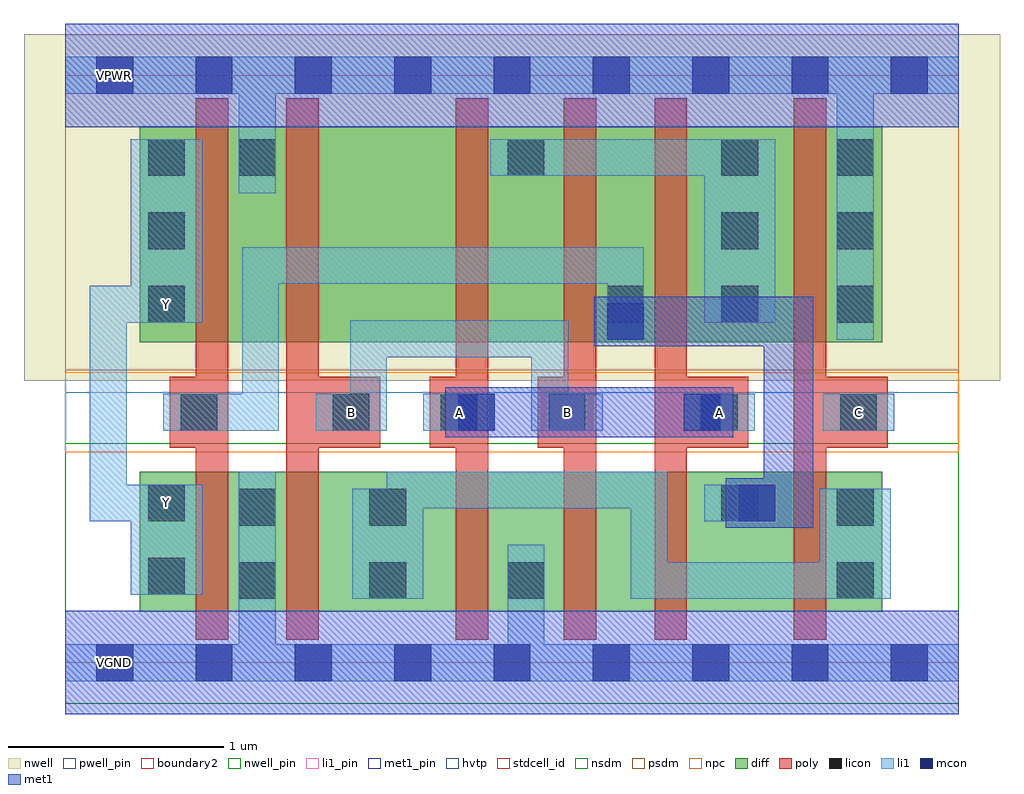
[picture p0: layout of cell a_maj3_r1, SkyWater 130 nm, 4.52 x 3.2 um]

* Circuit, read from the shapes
.subckt a_maj3_r1 A B C VGND VNB VPB VPWR Y
XM1 VGND n1 Y VNB sky130_fd_pr__nfet_01v8 w=0.65 l=0.15
XM2 n2 B VGND VNB sky130_fd_pr__nfet_01v8 w=0.65 l=0.15
XM3 VGND A n2 VNB sky130_fd_pr__nfet_01v8 w=0.65 l=0.15
XM4 n3 B VGND VNB sky130_fd_pr__nfet_01v8 w=0.65 l=0.15
XM5 n1 A n3 VNB sky130_fd_pr__nfet_01v8 w=0.65 l=0.15
XM6 n2 C n1 VNB sky130_fd_pr__nfet_01v8 w=0.65 l=0.15
XM7 VPWR n1 Y VPB sky130_fd_pr__pfet_01v8_hvt w=1 l=0.15
XM8 n4 B VPWR VPB sky130_fd_pr__pfet_01v8_hvt w=1 l=0.15
XM9 n5 A n4 VPB sky130_fd_pr__pfet_01v8_hvt w=1 l=0.15
XM10 n1 B n5 VPB sky130_fd_pr__pfet_01v8_hvt w=1 l=0.15
XM11 n5 A n1 VPB sky130_fd_pr__pfet_01v8_hvt w=1 l=0.15
XM12 VPWR C n5 VPB sky130_fd_pr__pfet_01v8_hvt w=1 l=0.15
.ends

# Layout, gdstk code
import gdstk
lib = gdstk.Library(unit=1e-6, precision=1e-09)
def R(c, l, rs):  # rectangles x0, y0, x1, y1
    for r in rs: c.add(gdstk.rectangle(r[:2], r[2:], *l))
def A(c, l, x, y, w, h, nx, ny, dx, dy):  # array of equal rectangles
    R(c, l, [(x+i*dx, y+j*dy, x+i*dx+w, y+j*dy+h) for i in range(nx) for j in range(ny)])
nwell_pin = (64, 16)
nwell = (64, 20)
diff = (65, 20)
poly = (66, 20)
licon = (66, 44)
li1_pin = (67, 16)
li1 = (67, 20)
mcon = (67, 44)
met1_pin = (68, 16)
met1 = (68, 20)
hvtp = (78, 44)
stdcell_id = (81, 4)
nsdm = (93, 44)
psdm = (94, 20)
npc = (95, 20)
pwell_pin = (122, 16)
boundary2 = (236, 0)

a_maj3_r1 = lib.new_cell('a_maj3_r1')
R(a_maj3_r1, nwell_pin, [(0.145,2.635,0.315,2.805)])
R(a_maj3_r1, nwell, [(-0.19,1.305,4.33,2.91)])
R(a_maj3_r1, diff, [(0.345,0.235,0.89,0.885), (0.89,0.235,1.49,0.885), (1.49,0.235,2.135,0.885), (2.135,0.235,2.595,0.885), (2.595,0.235,3.13,0.885), (3.13,0.235,3.785,0.885), (0.345,1.485,0.89,2.485), (0.89,1.485,1.49,2.485), (1.49,1.485,2.135,2.485), (2.135,1.485,2.595,2.485), (2.595,1.485,3.13,2.485), (3.13,1.485,3.785,2.485)])
R(a_maj3_r1, poly, [(0.605,0.105,0.755,2.615), (1.025,0.105,1.175,2.615), (1.81,0.105,1.96,2.615), (2.31,0.105,2.46,2.615), (2.73,0.105,2.88,2.615), (3.375,0.105,3.525,2.615), (0.485,0.995,0.755,1.325), (1.025,0.995,1.46,1.325), (1.69,0.995,1.96,1.325), (2.19,0.995,2.46,1.325), (2.73,0.995,3.165,1.325), (3.375,0.995,3.81,1.325)])
A(a_maj3_r1, licon, 1.24, 1.075, 0.17, 0.17, 3, 1, 0.5, 0)
A(a_maj3_r1, licon, 0.385, 1.575, 0.17, 0.17, 1, 3, 0, 0.34)
A(a_maj3_r1, licon, 3.04, 1.575, 0.17, 0.17, 1, 3, 0, 0.34)
A(a_maj3_r1, licon, 3.575, 1.575, 0.17, 0.17, 1, 3, 0, 0.34)
R(a_maj3_r1, licon, [(0.805,0.295,0.975,0.465), (1.41,0.295,1.58,0.465), (2.05,0.295,2.22,0.465), (3.575,0.295,3.745,0.465), (0.385,0.315,0.555,0.485), (0.805,0.635,0.975,0.805), (1.41,0.635,1.58,0.805), (3.575,0.635,3.745,0.805), (0.385,0.655,0.555,0.825), (3.04,0.655,3.21,0.825), (0.535,1.075,0.705,1.245), (2.945,1.075,3.115,1.245), (3.59,1.075,3.76,1.245), (2.51,1.575,2.68,1.745), (0.805,2.255,0.975,2.425), (2.05,2.255,2.22,2.425)])
A(a_maj3_r1, li1_pin, 1.24, 1.075, 0.17, 0.17, 3, 1, 0.5, 0)
R(a_maj3_r1, li1_pin, [(0.385,0.655,0.555,0.825), (2.945,1.075,3.115,1.245), (3.59,1.075,3.76,1.245), (0.385,1.575,0.555,1.745)])
A(a_maj3_r1, li1, 1.16, 1.075, 0.33, 0.17, 3, 1, 0.5, 0)
R(a_maj3_r1, li1, [(0,-0.085,4.14,0.085), (0.805,-0.085,0.975,0.545), (2.05,-0.085,2.22,0.545), (0.805,0.295,0.975,0.885), (1.33,0.295,1.66,0.465), (1.33,0.295,1.66,0.805), (1.49,0.295,1.66,0.885), (2.62,0.295,2.79,0.885), (2.62,0.295,3.665,0.465), (3.495,0.295,3.825,0.465), (3.495,0.295,3.825,0.805), (0.305,0.315,0.635,0.825), (0.115,0.655,0.475,0.825), (0.115,0.655,0.285,1.745), (0.285,0.655,0.305,0.825), (0.285,0.655,0.305,0.825), (0.285,0.655,0.305,0.825), (0.285,0.655,0.305,0.825), (0.285,0.655,0.305,0.825), (0.285,0.655,0.305,0.825), (0.285,0.655,0.305,0.825), (0.285,0.655,0.305,0.825), (0.305,0.655,0.635,0.825), (2.96,0.655,3.29,0.825), (1.49,0.715,2.79,0.885), (0.455,1.075,0.785,1.245), (0.615,1.075,0.99,1.245), (0.785,1.075,0.82,1.245), (0.785,1.075,0.82,1.245), (0.785,1.075,0.82,1.245), (0.785,1.075,0.82,1.245), (0.82,1.075,0.99,1.925), (1.32,1.075,1.49,1.585), (2.16,1.075,2.33,1.585), (2.865,1.075,3.195,1.245), (3.51,1.075,3.84,1.245), (1.32,1.415,2.33,1.585), (2.51,1.495,2.68,1.825), (3.575,1.495,3.745,2.085), (0.115,1.575,0.475,1.745), (0.285,1.575,0.305,1.745), (0.285,1.575,0.305,1.745), (0.285,1.575,0.305,1.745), (0.285,1.575,0.305,1.745), (0.285,1.575,0.305,1.745), (0.285,1.575,0.305,1.745), (0.285,1.575,0.305,1.745), (0.285,1.575,0.305,1.745), (0.305,1.575,0.635,1.745), (0.305,1.575,0.635,2.085), (2.96,1.575,3.29,2.085), (2.51,1.655,2.68,1.925), (0.82,1.755,2.68,1.925), (3.575,1.835,3.745,2.425), (0.305,1.915,0.635,2.425), (2.96,1.915,3.29,2.425), (3.575,2.085,3.745,2.175), (3.575,2.085,3.745,2.175), (3.575,2.085,3.745,2.175), (3.575,2.085,3.745,2.175), (0.805,2.175,0.975,2.805), (3.575,2.175,3.745,2.805), (1.97,2.255,2.3,2.425), (2.13,2.255,3.13,2.425), (2.96,2.255,3.29,2.425), (0,2.635,4.14,2.805)])
A(a_maj3_r1, mcon, 0.145, -0.085, 0.17, 0.17, 9, 2, 0.46, 2.72)
R(a_maj3_r1, mcon, [(3.12,0.655,3.29,0.825), (1.82,1.075,1.99,1.245), (2.865,1.075,3.035,1.245), (2.51,1.495,2.68,1.665)])
R(a_maj3_r1, met1_pin, [(0.145,-0.085,0.315,0.085), (0.145,2.635,0.315,2.805)])
R(a_maj3_r1, met1, [(0,-0.24,4.14,0.24), (3.06,0.625,3.35,0.855), (3.09,0.625,3.465,0.855), (3.235,0.625,3.465,1.695), (1.76,1.045,2.05,1.275), (1.79,1.045,3.065,1.275), (2.805,1.045,3.095,1.275), (2.45,1.465,2.74,1.695), (2.48,1.465,3.465,1.695), (0,2.48,4.14,2.96)])
R(a_maj3_r1, hvtp, [(0,1.25,4.14,2.72)])
R(a_maj3_r1, stdcell_id, [(0,0,4.14,2.72)])
R(a_maj3_r1, nsdm, [(0,-0.19,4.14,1.015)])
R(a_maj3_r1, psdm, [(0,1.355,4.14,2.91)])
R(a_maj3_r1, npc, [(0,0.975,4.14,1.345)])
R(a_maj3_r1, pwell_pin, [(0.145,-0.085,0.315,0.085)])
R(a_maj3_r1, boundary2, [(0,0,4.14,2.72)])
a_maj3_r1.add(gdstk.Label('A', (1.825,1.16), layer=67, texttype=5))
a_maj3_r1.add(gdstk.Label('A', (3.03,1.16), layer=67, texttype=5))
a_maj3_r1.add(gdstk.Label('B', (1.325,1.16), layer=67, texttype=5))
a_maj3_r1.add(gdstk.Label('B', (2.325,1.16), layer=67, texttype=5))
a_maj3_r1.add(gdstk.Label('C', (3.675,1.16), layer=67, texttype=5))
a_maj3_r1.add(gdstk.Label('Y', (0.47,0.74), layer=67, texttype=5))
a_maj3_r1.add(gdstk.Label('Y', (0.47,1.66), layer=67, texttype=5))
a_maj3_r1.add(gdstk.Label('VGND', (0.23,0), layer=68, texttype=5))
a_maj3_r1.add(gdstk.Label('VPWR', (0.23,2.72), layer=68, texttype=5))
a_maj3_r1.add(gdstk.Label('VPB', (0.23,2.72), layer=64, texttype=5))
a_maj3_r1.add(gdstk.Label('VNB', (0.23,0), layer=64, texttype=59))

lib.write_gds('a_maj3_r1.gds')
